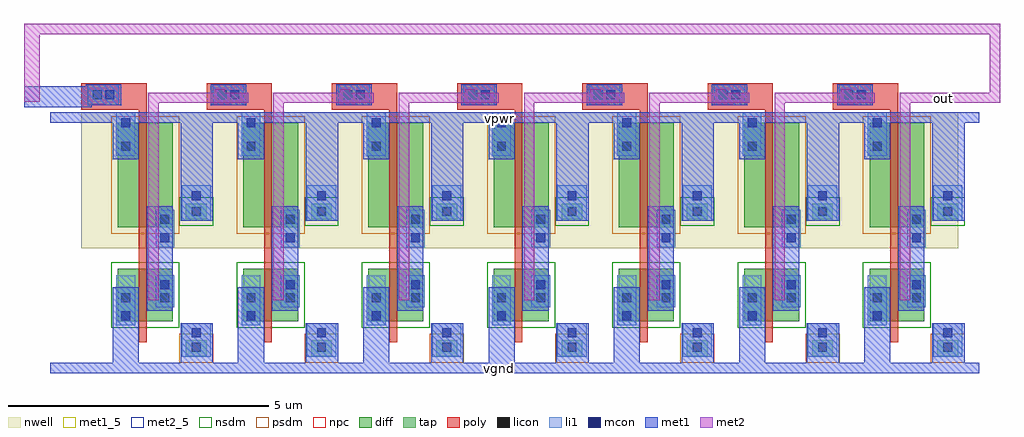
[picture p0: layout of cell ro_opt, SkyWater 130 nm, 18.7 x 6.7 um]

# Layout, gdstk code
import gdstk
lib = gdstk.Library(unit=1e-6, precision=1e-09)
def R(c, l, rs):  # rectangles x0, y0, x1, y1
    for r in rs: c.add(gdstk.rectangle(r[:2], r[2:], *l))
def A(c, l, x, y, w, h, nx, ny, dx, dy):  # array of equal rectangles
    R(c, l, [(x+i*dx, y+j*dy, x+i*dx+w, y+j*dy+h) for i in range(nx) for j in range(ny)])
nwell = (64, 20)
diff = (65, 20)
tap = (65, 44)
poly = (66, 20)
licon = (66, 44)
li1 = (67, 20)
mcon = (67, 44)
met1_5 = (68, 5)
met1 = (68, 20)
met2_5 = (69, 5)
met2 = (69, 20)
nsdm = (93, 44)
psdm = (94, 20)
npc = (95, 20)

ro_opt = lib.new_cell('ro_opt')
R(ro_opt, nwell, [(0,2.4,16.8,5)])
A(ro_opt, diff, 0.7, 1, 1.05, 1, 7, 1, 2.4, 0)
A(ro_opt, diff, 0.7, 2.8, 1.05, 2, 7, 1, 2.4, 0)
A(ro_opt, tap, 2, 0.33, 0.4, 0.3, 7, 2, 2.4, 2.62)
A(ro_opt, poly, 1.1, 0.6, 0.15, 4.45, 7, 1, 2.4, 0)
A(ro_opt, poly, 0, 5.05, 1.25, 0.51, 7, 1, 2.4, 0)
A(ro_opt, licon, 2.115, 0.415, 0.17, 0.17, 7, 2, 2.4, 2.6)
A(ro_opt, licon, 1.515, 2.865, 0.17, 0.17, 7, 1, 2.4, 0)
A(ro_opt, licon, 0.765, 4.265, 0.17, 0.17, 7, 1, 2.4, 0)
A(ro_opt, licon, 0.215, 5.255, 0.17, 0.17, 7, 1, 2.4, 0)
R(ro_opt, licon, [(0.765,1.365,0.935,1.535), (1.515,1.365,1.685,1.535), (3.165,1.365,3.335,1.535), (3.915,1.365,4.085,1.535), (5.565,1.365,5.735,1.535), (6.315,1.365,6.485,1.535), (7.965,1.365,8.135,1.535), (8.715,1.365,8.885,1.535), (10.365,1.365,10.535,1.535), (11.115,1.365,11.285,1.535), (12.765,1.365,12.935,1.535), (13.515,1.365,13.685,1.535), (15.165,1.365,15.335,1.535), (15.915,1.365,16.085,1.535)])
A(ro_opt, li1, 1.92, 0.32, 0.56, 0.64, 7, 1, 2.4, 0)
A(ro_opt, li1, 0.67, 0.92, 0.36, 0.96, 7, 1, 2.4, 0)
A(ro_opt, li1, 1.42, 1.27, 0.36, 0.61, 7, 1, 2.4, 0)
A(ro_opt, li1, 1.42, 2.42, 0.36, 0.71, 7, 1, 2.4, 0)
A(ro_opt, li1, 1.92, 2.92, 0.56, 0.68, 7, 1, 2.4, 0)
A(ro_opt, li1, 0.67, 4.17, 0.36, 0.83, 7, 1, 2.4, 0)
A(ro_opt, li1, 0.12, 5.14, 0.6, 0.4, 7, 1, 2.4, 0)
A(ro_opt, mcon, 2.115, 0.695, 0.17, 0.17, 7, 2, 2.4, 2.62)
A(ro_opt, mcon, 0.765, 1.015, 0.17, 0.17, 7, 2, 2.4, 3.7)
A(ro_opt, mcon, 1.515, 1.615, 0.17, 0.17, 7, 2, 2.4, 0.9)
A(ro_opt, mcon, 0.455, 5.255, 0.17, 0.17, 7, 1, 2.4, 0)
R(ro_opt, met1_5, [(8,0.08,8.02,0.1), (8,4.88,8.02,4.9)])
A(ro_opt, met1, 0.6, 0.2, 0.5, 1.45, 7, 1, 2.4, 0)
A(ro_opt, met1, 1.9, 0.2, 0.62, 0.76, 7, 1, 2.4, 0)
A(ro_opt, met1, 1.25, 1.2, 0.5, 2, 7, 1, 2.4, 0)
A(ro_opt, met1, 1.9, 2.92, 0.62, 1.88, 7, 1, 2.4, 0)
A(ro_opt, met1, 0.6, 4.1, 0.5, 0.7, 7, 1, 2.4, 0)
A(ro_opt, met1, 2.48, 5.14, 0.68, 0.4, 6, 1, 2.4, 0)
R(ro_opt, met1, [(-0.6,0,17.2,0.2), (-0.6,4.8,17.2,5), (-1.1,5.1,0.2,5.14), (-1.1,5.14,0.76,5.5), (0.08,5.5,0.76,5.54)])
R(ro_opt, met2_5, [(16.5,5.25,16.52,5.27)])
A(ro_opt, met2, 1.28, 1.4, 0.2, 3.78, 7, 1, 2.4, 0)
A(ro_opt, met2, 1.28, 5.18, 1.92, 0.2, 7, 1, 2.4, 0)
A(ro_opt, met2, 2.55, 5.38, 0.2, 0.06, 6, 1, 2.4, 0)
R(ro_opt, met2, [(-1.1,5.2,-0.8,6.5), (17.4,5.38,17.6,6.5), (-1.1,6.5,17.6,6.7)])
A(ro_opt, nsdm, 0.575, 0.875, 1.3, 1.25, 7, 1, 2.4, 0)
A(ro_opt, nsdm, 1.875, 2.825, 0.65, 0.55, 7, 1, 2.4, 0)
A(ro_opt, psdm, 1.875, 0.205, 0.65, 0.55, 7, 1, 2.4, 0)
A(ro_opt, psdm, 0.575, 2.675, 1.3, 2.25, 7, 1, 2.4, 0)
A(ro_opt, npc, 0.115, 5.155, 0.37, 0.37, 7, 1, 2.4, 0)
ro_opt.add(gdstk.Label('vpwr', (8.01,4.89), layer=68, texttype=5))
ro_opt.add(gdstk.Label('vgnd', (8.01,0.09), layer=68, texttype=5))
ro_opt.add(gdstk.Label('out', (16.51,5.26), layer=69, texttype=5))

lib.write_gds('ro_opt.gds')
